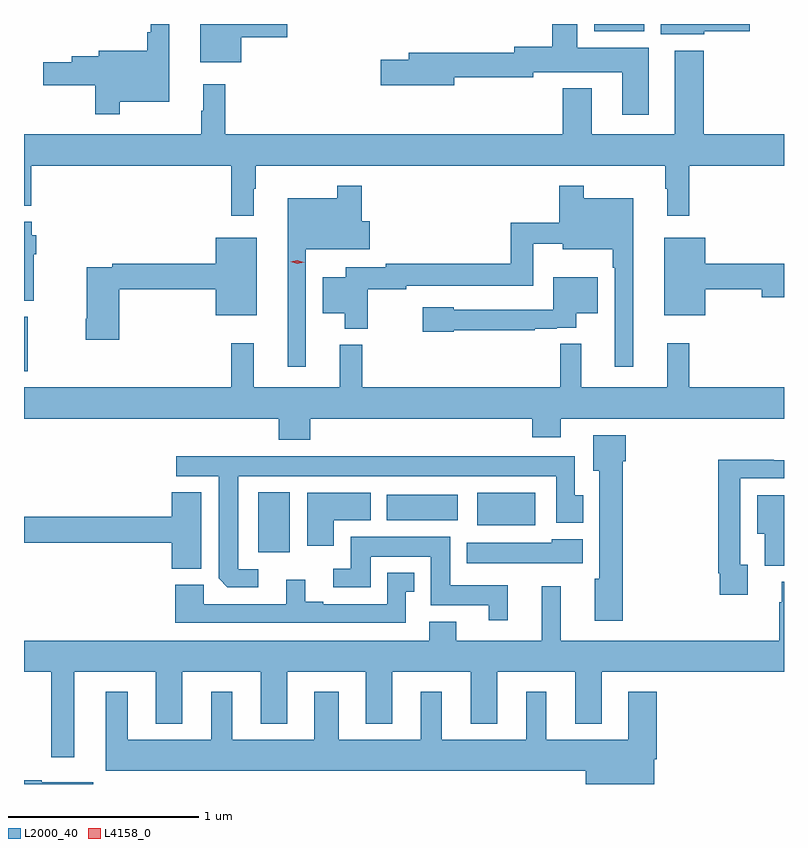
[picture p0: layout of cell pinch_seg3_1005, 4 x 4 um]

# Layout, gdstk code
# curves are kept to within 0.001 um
import gdstk
lib = gdstk.Library(unit=1e-6, precision=1e-09)
def R(c, l, rs):  # rectangles x0, y0, x1, y1
    for r in rs: c.add(gdstk.rectangle(r[:2], r[2:], *l))
def P(c, l, *ps):  # polygons
    for p in ps: c.add(gdstk.Polygon(p, *l))
L2000_40 = (2000, 40)
L4158_0 = (4158, 0)

pinch_seg3_1005 = lib.new_cell('pinch_seg3_1005')
R(pinch_seg3_1005, L2000_40, [(411.779,672.24,411.943,672.556), (412.931,672.383,413.236,672.553), (412.454,672.41,412.828,672.544), (410.545,673.194,410.565,673.479), (413.546,674.984,413.809,675.021)])
P(pinch_seg3_1005, L2000_40, [(411.688,674.951),(411.931,674.951),(411.931,675.021),(411.473,675.021),(411.473,674.819),(411.688,674.819)],
  [(414.126,674.984),(414.364,674.984),(414.364,675.021),(413.897,675.021),(413.897,674.966),(414.126,674.966)],
  [(413.833,674.896),(413.458,674.896),(413.458,675.021),(413.324,675.021),(413.324,674.9),(413.126,674.9),(413.126,674.87),(412.571,674.87),(412.571,674.834),(412.422,674.834),(412.422,674.699),(412.81,674.699),(412.81,674.742),(413.224,674.742),(413.224,674.768),(413.693,674.768),(413.693,674.544),(413.833,674.544)],
  [(411.049,674.612),(411.31,674.612),(411.31,675.021),(411.213,675.021),(411.213,674.977),(411.193,674.977),(411.193,674.881),(410.939,674.881),(410.939,674.851),(410.795,674.851),(410.795,674.821),(410.646,674.821),(410.646,674.699),(410.92,674.699),(410.92,674.547),(411.049,674.547)],
  [(411.605,674.704),(411.488,674.704),(411.488,674.564),(411.477,674.564),(411.477,674.44),(410.545,674.44),(410.545,674.065),(410.582,674.065),(410.582,674.276),(411.637,674.276),(411.637,674.013),(411.754,674.013),(411.754,674.153),(411.766,674.153),(411.766,674.276),(413.919,674.276),(413.919,674.153),(413.93,674.153),(413.93,674.013),(414.047,674.013),(414.047,674.276),(414.545,674.276),(414.545,674.44),(414.122,674.44),(414.122,674.881),(413.969,674.881),(413.969,674.44),(413.533,674.44),(413.533,674.683),(413.381,674.683),(413.381,674.44),(411.605,674.44)],
  [(412.029,673.835),(412.366,673.835),(412.366,673.983),(412.322,673.983),(412.322,674.17),(412.194,674.17),(412.194,674.104),(411.932,674.104),(411.932,673.218),(412.029,673.218)],
  [(413.752,674.104),(413.491,674.104),(413.491,674.17),(413.362,674.17),(413.362,673.975),(413.107,673.975),(413.107,673.76),(412.45,673.76),(412.45,673.74),(412.238,673.74),(412.238,673.687),(412.118,673.687),(412.118,673.499),(412.232,673.499),(412.232,673.418),(412.354,673.418),(412.354,673.624),(412.556,673.624),(412.556,673.644),(413.224,673.644),(413.224,673.865),(413.381,673.865),(413.381,673.835),(413.643,673.835),(413.643,673.739),(413.655,673.739),(413.655,673.218),(413.752,673.218)],
  [(410.596,673.808),(410.609,673.808),(410.609,673.908),(410.585,673.908),(410.585,673.98),(410.545,673.98),(410.545,673.564),(410.596,673.564)],
  [(411.047,673.624),(411.554,673.624),(411.554,673.487),(411.769,673.487),(411.769,673.897),(411.554,673.897),(411.554,673.76),(411.01,673.76),(411.01,673.74),(410.876,673.74),(410.876,673.471),(410.869,673.471),(410.869,673.359),(411.047,673.359)],
  [(414.13,673.624),(414.428,673.624),(414.428,673.582),(414.545,673.582),(414.545,673.76),(414.13,673.76),(414.13,673.897),(413.915,673.897),(413.915,673.487),(414.13,673.487)],
  [(412.806,673.41),(413.234,673.41),(413.234,673.416),(413.348,673.416),(413.348,673.422),(413.452,673.422),(413.452,673.499),(413.566,673.499),(413.566,673.687),(413.33,673.687),(413.33,673.518),(412.806,673.518),(412.806,673.531),(412.644,673.531),(412.644,673.402),(412.806,673.402)],
  [(412.052,672.944),(413.219,672.944),(413.219,672.845),(413.371,672.845),(413.371,672.944),(414.545,672.944),(414.545,673.108),(414.047,673.108),(414.047,673.342),(413.93,673.342),(413.93,673.108),(413.477,673.108),(413.477,673.337),(413.368,673.337),(413.368,673.108),(412.325,673.108),(412.325,673.333),(412.208,673.333),(412.208,673.108),(411.755,673.108),(411.755,673.342),(411.637,673.342),(411.637,673.108),(410.545,673.108),(410.545,672.944),(411.887,672.944),(411.887,672.833),(412.052,672.833)],
  [(413.696,672.72),(413.711,672.72),(413.711,672.856),(413.54,672.856),(413.54,672.669),(413.573,672.669),(413.573,672.102),(413.549,672.102),(413.549,671.88),(413.696,671.88)],
  [(411.778,672.15),(411.673,672.15),(411.673,672.641),(413.346,672.641),(413.346,672.396),(413.488,672.396),(413.488,672.54),(413.443,672.54),(413.443,672.745),(411.345,672.745),(411.345,672.641),(411.569,672.641),(411.57,672.103),(411.616,672.057),(411.778,672.057)],
  [(414.355,672.174),(414.315,672.174),(414.315,672.63),(414.545,672.63),(414.545,672.726),(414.491,672.726),(414.491,672.728),(414.199,672.728),(414.199,672.13),(414.207,672.13),(414.207,672.018),(414.355,672.018)],
  [(411.478,672.556),(411.323,672.556),(411.323,672.428),(410.545,672.428),(410.545,672.292),(411.323,672.292),(411.323,672.155),(411.478,672.155)],
  [(412.174,672.41),(412.369,672.41),(412.369,672.553),(412.037,672.553),(412.037,672.276),(412.174,672.276)],
  [(414.545,672.541),(414.404,672.541),(414.404,672.338),(414.443,672.338),(414.443,672.17),(414.545,672.17)],
  [(413.09,672.067),(412.789,672.067),(412.789,672.322),(412.265,672.322),(412.265,672.153),(412.173,672.153),(412.173,672.057),(412.369,672.057),(412.369,672.218),(412.685,672.218),(412.685,671.963),(412.991,671.963),(412.991,671.883),(413.09,671.883)],
  [(413.485,672.31),(413.322,672.31),(413.322,672.292),(412.874,672.292),(412.874,672.182),(413.485,672.182)],
  [(412.554,672.033),(412.6,672.033),(412.6,672.133),(412.458,672.133),(412.458,671.967),(412.12,671.967),(412.12,671.98),(412.024,671.98),(412.024,672.097),(411.926,672.097),(411.926,671.967),(411.492,671.967),(411.492,672.07),(411.341,672.07),(411.341,671.871),(412.554,671.871)],
  [(410.809,671.612),(411.239,671.612),(411.239,671.339),(411.379,671.339),(411.379,671.612),(411.791,671.612),(411.791,671.339),(411.931,671.339),(411.931,671.612),(412.343,671.612),(412.343,671.339),(412.483,671.339),(412.483,671.612),(412.895,671.612),(412.895,671.339),(413.035,671.339),(413.035,671.612),(413.447,671.612),(413.447,671.339),(413.587,671.339),(413.587,671.612),(414.545,671.612),(414.545,672.085),(414.533,672.085),(414.533,671.978),(414.521,671.978),(414.521,671.776),(413.369,671.776),(413.369,672.061),(413.27,672.061),(413.27,671.776),(412.819,671.776),(412.819,671.875),(412.679,671.875),(412.679,671.776),(410.545,671.776),(410.545,671.612),(410.688,671.612),(410.688,671.163),(410.809,671.163)],
  [(413.863,671.15),(413.876,671.15),(413.876,671.506),(413.726,671.506),(413.726,671.254),(413.293,671.254),(413.293,671.506),(413.189,671.506),(413.189,671.254),(412.744,671.254),(412.744,671.506),(412.634,671.506),(412.634,671.254),(412.201,671.254),(412.201,671.506),(412.073,671.506),(412.073,671.254),(411.64,671.254),(411.64,671.506),(411.53,671.506),(411.53,671.254),(411.091,671.254),(411.091,671.506),(410.975,671.506),(410.975,671.09),(413.501,671.09),(413.501,671.021),(413.863,671.021)],
  [(410.91,671.029),(410.638,671.029),(410.638,671.042),(410.545,671.042),(410.545,671.021),(410.91,671.021)])
P(pinch_seg3_1005, L4158_0, [(411.982,673.758),(411.948,673.77),(411.947,673.77),(411.948,673.77),(411.983,673.778),(412.018,673.767),(412.019,673.766),(412.018,673.766)])

lib.write_gds('pinch_seg3_1005.gds')
